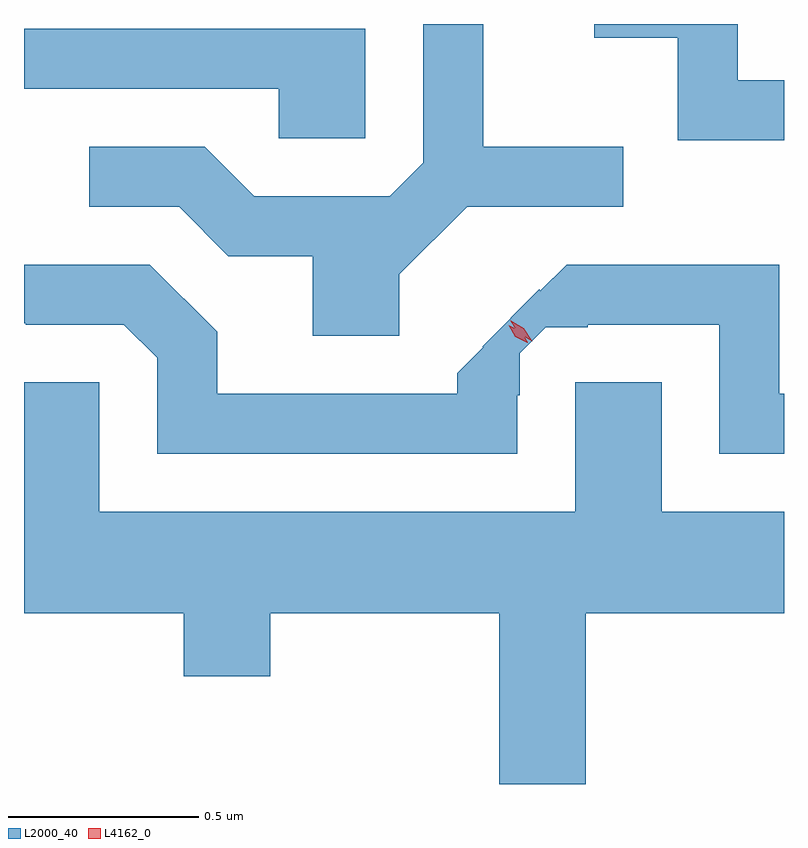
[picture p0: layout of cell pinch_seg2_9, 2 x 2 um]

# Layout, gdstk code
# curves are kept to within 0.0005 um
import gdstk
lib = gdstk.Library(unit=1e-6, precision=1e-09)
def P(c, l, *ps):  # polygons
    for p in ps: c.add(gdstk.Polygon(p, *l))
L2000_40 = (2000, 40)
L4162_0 = (4162, 0)

pinch_seg2_9 = lib.new_cell('pinch_seg2_9')
P(pinch_seg2_9, L2000_40, [(1736.691,1111.879),(1736.569,1111.879),(1736.569,1112.027),(1736.191,1112.027),(1736.191,1111.991),(1736.411,1111.991),(1736.411,1111.721),(1736.691,1111.721)],
  [(1735.679,1111.369),(1735.857,1111.546),(1736.268,1111.546),(1736.268,1111.704),(1735.899,1111.704),(1735.899,1112.027),(1735.741,1112.027),(1735.741,1111.662),(1735.654,1111.574),(1735.297,1111.574),(1735.167,1111.704),(1734.863,1111.704),(1734.863,1111.546),(1735.099,1111.546),(1735.229,1111.416),(1735.451,1111.416),(1735.451,1111.206),(1735.679,1111.206)],
  [(1735.589,1112.014),(1734.691,1112.014),(1734.691,1111.856),(1735.361,1111.856),(1735.361,1111.726),(1735.589,1111.726)],
  [(1735.989,1111.05),(1735.996,1111.05),(1735.996,1111.161),(1736.064,1111.229),(1736.175,1111.229),(1736.175,1111.236),(1736.521,1111.236),(1736.521,1110.896),(1736.691,1110.896),(1736.691,1111.054),(1736.679,1111.054),(1736.679,1111.394),(1736.119,1111.394),(1736.05,1111.325),(1736.047,1111.329),(1735.897,1111.178),(1735.899,1111.176),(1735.831,1111.108),(1735.831,1111.054),(1735.199,1111.054),(1735.199,1111.217),(1735.022,1111.394),(1734.691,1111.394),(1734.691,1111.239),(1734.695,1111.239),(1734.695,1111.236),(1734.954,1111.236),(1735.041,1111.149),(1735.041,1110.896),(1735.989,1110.896)],
  [(1736.169,1110.476),(1736.691,1110.476),(1736.691,1110.744),(1736.369,1110.744),(1736.369,1111.084),(1736.141,1111.084),(1736.141,1110.744),(1734.889,1110.744),(1734.889,1111.084),(1734.691,1111.084),(1734.691,1110.476),(1735.111,1110.476),(1735.111,1110.311),(1735.339,1110.311),(1735.339,1110.476),(1735.941,1110.476),(1735.941,1110.027),(1736.169,1110.027)])
P(pinch_seg2_9, L4162_0, [(1736.028,1111.192),(1735.992,1111.213),(1735.97,1111.247),(1735.97,1111.248),(1735.971,1111.248),(1736.006,1111.227),(1736.028,1111.192),(1736.028,1111.192)],
  [(1736.015,1111.188),(1735.984,1111.204),(1735.966,1111.234),(1735.966,1111.234),(1735.967,1111.234),(1735.998,1111.219),(1736.016,1111.189),(1736.016,1111.188)])

lib.write_gds('pinch_seg2_9.gds')
